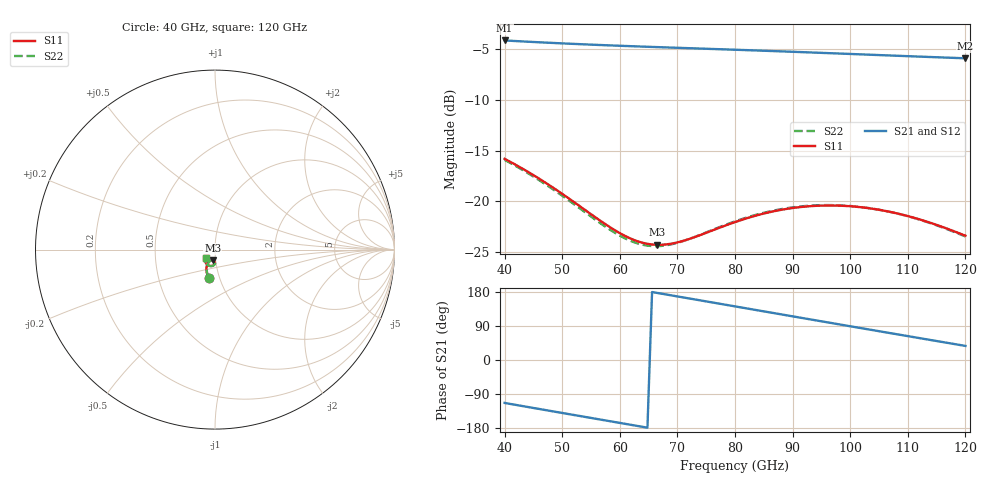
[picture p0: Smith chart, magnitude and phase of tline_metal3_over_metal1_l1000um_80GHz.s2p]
#  GHZ S DB R 50
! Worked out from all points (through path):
!   101 points, 40 GHz to 120 GHz, reference 50 ohm
!   highest |S21| = -4.18 dB at 40 GHz (marker M1); lowest = -5.9 dB at 120 GHz (marker M2)
!   group delay of S21, straight-line fit = 7.28 ps
!   lowest |S11| = -24.3 dB at 66.4 GHz (marker M3), VSWR 1.13, Z = 48.4 - j5.82 ohm
!   |S11| at or under -10 dB: start of sweep to end of sweep
!   |S22| runs from -24.4 to -15.9 dB; largest |S21 - S12| = 6.6e-14
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40  -15.81 -101.6  -4.18 -113.3  -4.18 -113.3  -15.91 -101.4
43.2  -16.81 -107.2  -4.28 -121.8  -4.28 -121.8  -16.93 -107.0
47.2  -18.19 -112.9  -4.40 -132.4  -4.40 -132.4  -18.35 -112.6
53.6  -20.69 -117.7  -4.56 -149.2  -4.56 -149.2  -20.90 -117.0
57.6  -22.27 -116.5  -4.65 -159.7  -4.65 -159.7  -22.51 -115.3
60.8  -23.35 -112.8  -4.72 -168.1  -4.72 -168.1  -23.59 -111.1
64  -24.06 -107.0  -4.79 -176.5  -4.79 -176.5  -24.26 -104.8
66.4  -24.26 -102.0  -4.84 177.2  -4.84 177.2  -24.39 -99.6
67.2  -24.25 -100.5  -4.85 175.1  -4.85 175.1  -24.37 -98.0
70.4  -23.96 -95.1  -4.91 166.7  -4.91 166.7  -23.99 -92.7
73.6  -23.38 -91.8  -4.97 158.3  -4.97 158.3  -23.35 -89.7
80  -22.03 -91.9  -5.10 141.5  -5.10 141.5  -21.96 -90.3
84  -21.33 -95.0  -5.17 131.0  -5.17 131.0  -21.26 -93.7
87.2  -20.91 -98.5  -5.24 122.6  -5.24 122.6  -20.84 -97.4
90.4  -20.61 -102.6  -5.31 114.2  -5.31 114.2  -20.55 -101.6
93.6  -20.44 -107.0  -5.37 105.8  -5.37 105.8  -20.39 -106.2
96.8  -20.40 -111.6  -5.44 97.4  -5.44 97.4  -20.36 -110.9
100  -20.47 -116.3  -5.51 89.0  -5.51 89.0  -20.44 -115.6
103.2  -20.66 -120.8  -5.58 80.7  -5.58 80.7  -20.64 -120.2
107.2  -21.06 -126.0  -5.67 70.3  -5.67 70.3  -21.06 -125.5
113.6  -22.03 -132.8  -5.80 53.7  -5.80 53.7  -22.07 -132.5
120  -23.36 -136.4  -5.94 37.2  -5.94 37.2  -23.44 -136.0
